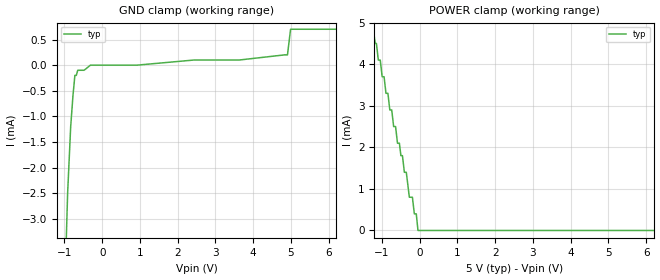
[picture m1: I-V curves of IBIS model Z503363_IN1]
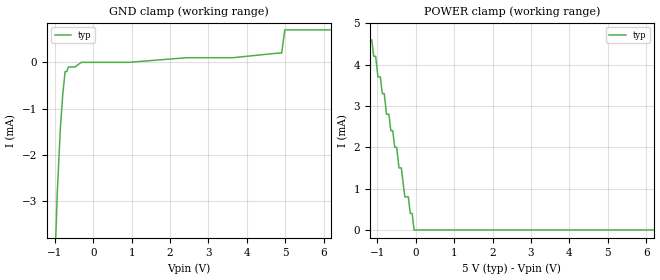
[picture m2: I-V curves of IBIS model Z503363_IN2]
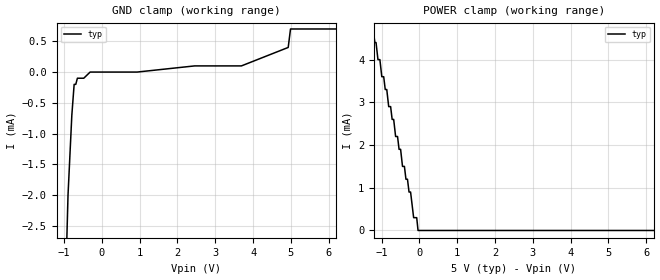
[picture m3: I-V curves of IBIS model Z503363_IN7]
| YOU ARE ONLY AUTHORIZED TO USE THIS SOFTWARE
| ACCORDING TO LICENSOR'S LICENSE RESTRICTIONS.
[IBIS Ver] 3.1
[File Name] mc100e116fn_pecl.ibs
[File Rev] 2.0
[Source] Measured and created by ICX Technology
[Date] Friday 7/14/00 9:07:47 AM
[Copyright]
| (C) COPYRIGHT 1993-2000
| MENTOR GRAPHICS CORPORATION
| ICX STANDARD LIBRARY, ICX PROJECT MODELING,
| ICX CUSTOM MODELING, ICX VENDOR MODEL
| ALL RIGHTS RESERVED.
| THE FOLLOWING ARE TRADEMARKS OR SERVICE MARKS OF
| MENTOR GRAPHICS CORPORATION:ICX (R), ICX STANDARD
| LIBRARY(R), ICX PROJECT MODELING(R), ICX CUSTOM
| MODELING(R), qualityIBIS(TM), MODELVIEWER(TM),
| AND MODELEDITOR(TM)
| ALL COPIES OF SOFTWARE, INCLUDING BUT NOT LIMITED TO
| ANY MODIFICATIONS, ENHANCEMENTS OR DERIVATIVE WORKS,
| MUST CONTAIN ALL MENTOR GRAPHICS CORPORATION'S
| NOTICES AND LEGENDS, INCLUDING THOSE EMBEDDED IN
| SOFTWARE AND THOSE AFFIXED TO SOFTWARE MEDIUM
| AND CONTAINER, AS RECEIVED FROM MENTOR GRAPHICS
| CORPORATION.
|  ZAP Model Builder 2.7
[Component] MC100E116FN_PECL
[Manufacturer] OnSemiconductor
[Package]
| variable   typ   min   max
R_pkg  .083ohms NA NA
L_pkg  4.299nH NA NA
C_pkg  1.045pF NA NA
[Pin] signal_name  model_name  R_pin  L_pin C_pin
1 VEE GND .08 3.94n .925p
2 VBB POWER .082 4.14n .995p
3 D0 Z503363_IN1 .084 4.354n 1.065p
4 _D0 Z503363_IN1 .086 4.583n 1.135p
5 D1 Z503363_IN2 .086 4.583n 1.135p
6 _D1 Z503363_IN2 .084 4.354n 1.065p
7 VCCO POWER .082 4.14n .995p
8 Q0 Z503363_OUT3 .08 3.94n .925p
9 _Q0 Z503363_OUT4 .082 4.14n .995p
10 VCCO POWER .084 4.354n 1.065p
11 Q1 Z503363_OUT3 .086 4.583n 1.135p
12 _Q1 Z503363_OUT4 .086 4.583n 1.135p
13 VCCO POWER .084 4.354n 1.065p
14 Q2 Z503363_OUT3 .082 4.14n .995p
15 _Q2 Z503363_OUT5 .08 3.94n .925p
16 VCC POWER .082 4.14n .995p
17 Q3 Z503363_OUT6 .084 4.354n 1.065p
18 _Q3 Z503363_OUT5 .086 4.583n 1.135p
19 VCCO POWER .086 4.583n 1.135p
20 Q4 Z503363_OUT6 .084 4.354n 1.065p
21 _Q4 Z503363_OUT5 .082 4.14n .995p
22 VCCO POWER .08 3.94n .925p
23 D4 Z503363_IN7 .082 4.14n .995p
24 _D4 Z503363_IN7 .084 4.354n 1.065p
25 D3 Z503363_IN7 .086 4.583n 1.135p
26 _D3 Z503363_IN8 .086 4.583n 1.135p
27 D2 Z503363_IN8 .084 4.354n 1.065p
28 _D2 Z503363_IN8 .082 4.14n .995p
| Models and submodels in the file (8): Z503363_IN1 (Input_ECL), Z503363_IN2 (Input_ECL), Z503363_IN7 (Input_ECL), Z503363_IN8 (Input_ECL), Z503363_OUT3 (Output_ECL), Z503363_OUT4 (Output_ECL), Z503363_OUT5 (Output_ECL), Z503363_OUT6 (Output_ECL)
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| (C) COPYRIGHT 1993-2000
| MENTOR GRAPHICS CORPORATION
| ICX STANDARD LIBRARY, ICX PROJECT MODELING,
| ICX CUSTOM MODELING, ICX VENDOR MODEL
| ALL RIGHTS RESERVED.
| THE FOLLOWING ARE TRADEMARKS OR SERVICE MARKS OF
| MENTOR GRAPHICS CORPORATION:ICX (R), ICX STANDARD
| LIBRARY(R), ICX PROJECT MODELING(R), ICX CUSTOM
| MODELING(R), qualityIBIS(TM), MODELVIEWER(TM),
| AND MODELEDITOR(TM)
| ALL COPIES OF SOFTWARE, INCLUDING BUT NOT LIMITED TO
| ANY MODIFICATIONS, ENHANCEMENTS OR DERIVATIVE WORKS,
| MUST CONTAIN ALL MENTOR GRAPHICS CORPORATION'S
| NOTICES AND LEGENDS, INCLUDING THOSE EMBEDDED IN
| SOFTWARE AND THOSE AFFIXED TO SOFTWARE MEDIUM
| AND CONTAINER, AS RECEIVED FROM MENTOR GRAPHICS
| CORPORATION.
| Model Application Version 1.89 2/18/99.
[Model] Z503363_IN1
Model_type Input_ECL
Vinl = 3.525V
Vinh = 3.835V
C_comp 4.000pF NA NA
| variable typ   min   max
[Voltage Range] 5.000V NA NA
[GND Clamp Reference] 0.000V NA NA
[POWER Clamp Reference] 5.000V NA NA
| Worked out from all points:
|   GND clamp passes 1 mA (typ) near -0.81 V on its own axis
|   POWER clamp passes 1 mA (typ) near -0.30 V on its own axis
[GND Clamp]
-5V       -139.9mA   NA         NA
-1.059V   -6.1mA     NA         NA
-916mV    -2.5mA     NA         NA
-835mV    -1.2mA     NA         NA
-775mV    -600uA     NA         NA
-724mV    -200uA     NA         NA
-647.8mV  -100uA     NA         NA
-311.3mV  0A         NA         NA
3.63V     100uA      NA         NA
4.908V    200uA      NA         NA
4.99V     700uA      NA         NA
10V       700uA      NA         NA
[POWER Clamp]
-5V       29.57mA    NA         NA
-1.147V   4.5mA      NA         NA
-690mV    2.5mA      NA         NA
-639mV    2.5mA      NA         NA
-588.5mV  2.1mA      NA         NA
-355mV    1.4mA      NA         NA
-274mV    800uA      NA         NA
-193mV    800uA      NA         NA
-142mV    400uA      NA         NA
-91mV     400uA      NA         NA
-45.5mV   0A         NA         NA
10V       0A         NA         NA
| (C) COPYRIGHT 1993-2000
| MENTOR GRAPHICS CORPORATION
| ICX STANDARD LIBRARY, ICX PROJECT MODELING,
| ICX CUSTOM MODELING, ICX VENDOR MODEL
| ALL RIGHTS RESERVED.
| THE FOLLOWING ARE TRADEMARKS OR SERVICE MARKS OF
| MENTOR GRAPHICS CORPORATION:ICX (R), ICX STANDARD
| LIBRARY(R), ICX PROJECT MODELING(R), ICX CUSTOM
| MODELING(R), qualityIBIS(TM), MODELVIEWER(TM),
| AND MODELEDITOR(TM)
| ALL COPIES OF SOFTWARE, INCLUDING BUT NOT LIMITED TO
| ANY MODIFICATIONS, ENHANCEMENTS OR DERIVATIVE WORKS,
| MUST CONTAIN ALL MENTOR GRAPHICS CORPORATION'S
| NOTICES AND LEGENDS, INCLUDING THOSE EMBEDDED IN
| SOFTWARE AND THOSE AFFIXED TO SOFTWARE MEDIUM
| AND CONTAINER, AS RECEIVED FROM MENTOR GRAPHICS
| CORPORATION.
| Model Application Version 1.89 2/18/99.
[Model] Z503363_IN2
Model_type Input_ECL
Vinl = 3.525V
Vinh = 3.835V
C_comp 4.000pF NA NA
| variable typ   min   max
[Voltage Range] 5.000V NA NA
[GND Clamp Reference] 0.000V NA NA
[POWER Clamp Reference] 5.000V NA NA
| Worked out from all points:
|   GND clamp passes 1 mA (typ) near -0.82 V on its own axis
|   POWER clamp passes 1 mA (typ) near -0.31 V on its own axis
[GND Clamp]
-5V       -139.6mA   NA         NA
-1.059V   -5.8mA     NA         NA
-937mV    -2.8mA     NA         NA
-856mV    -1.4mA     NA         NA
-795mV    -700uA     NA         NA
-734mV    -200uA     NA         NA
-647.8mV  -100uA     NA         NA
-311.3mV  0A         NA         NA
3.63V     100uA      NA         NA
4.908V    200uA      NA         NA
4.99V     700uA      NA         NA
10V       700uA      NA         NA
[POWER Clamp]
-5V       29.67mA    NA         NA
-1.147V   4.6mA      NA         NA
-984mV    3.7mA      NA         NA
-923mV    3.7mA      NA         NA
-761mV    2.8mA      NA         NA
-700mV    2.8mA      NA         NA
-436.5mV  1.5mA      NA         NA
-376mV    1.5mA      NA         NA
-284.5mV  800uA      NA         NA
-193mV    800uA      NA         NA
-45.5mV   0A         NA         NA
10V       0A         NA         NA
| (C) COPYRIGHT 1993-2000
| MENTOR GRAPHICS CORPORATION
| ICX STANDARD LIBRARY, ICX PROJECT MODELING,
| ICX CUSTOM MODELING, ICX VENDOR MODEL
| ALL RIGHTS RESERVED.
| THE FOLLOWING ARE TRADEMARKS OR SERVICE MARKS OF
| MENTOR GRAPHICS CORPORATION:ICX (R), ICX STANDARD
| LIBRARY(R), ICX PROJECT MODELING(R), ICX CUSTOM
| MODELING(R), qualityIBIS(TM), MODELVIEWER(TM),
| AND MODELEDITOR(TM)
| ALL COPIES OF SOFTWARE, INCLUDING BUT NOT LIMITED TO
| ANY MODIFICATIONS, ENHANCEMENTS OR DERIVATIVE WORKS,
| MUST CONTAIN ALL MENTOR GRAPHICS CORPORATION'S
| NOTICES AND LEGENDS, INCLUDING THOSE EMBEDDED IN
| SOFTWARE AND THOSE AFFIXED TO SOFTWARE MEDIUM
| AND CONTAINER, AS RECEIVED FROM MENTOR GRAPHICS
| CORPORATION.
| Model Application Version 1.89 2/18/99.
[Model] Z503363_IN7
Model_type Input_ECL
Vinl = 3.525V
Vinh = 3.835V
C_comp 4.000pF NA NA
| variable typ   min   max
[Voltage Range] 5.000V NA NA
[GND Clamp Reference] 0.000V NA NA
[POWER Clamp Reference] 5.000V NA NA
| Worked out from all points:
|   GND clamp passes 1 mA (typ) near -0.82 V on its own axis
|   POWER clamp passes 1 mA (typ) near -0.29 V on its own axis
[GND Clamp]
-5V       -129.8mA   NA         NA
-1.059V   -5.7mA     NA         NA
-896mV    -2mA       NA         NA
-795mV    -700uA     NA         NA
-734mV    -200uA     NA         NA
-647.8mV  -100uA     NA         NA
-479.5mV  -100uA     NA         NA
-311.3mV  0A         NA         NA
3.691V    100uA      NA         NA
4.929V    400uA      NA         NA
4.99V     700uA      NA         NA
10V       700uA      NA         NA
[POWER Clamp]
-5V       29.47mA    NA         NA
-1.147V   4.4mA      NA         NA
-1.096V   4mA        NA         NA
-1.045V   4mA        NA         NA
-994.5mV  3.6mA      NA         NA
-863mV    3.3mA      NA         NA
-812mV    2.9mA      NA         NA
-680mV    2.6mA      NA         NA
-629mV    2.2mA      NA         NA
-497mV    1.9mA      NA         NA
-35.5mV   0A         NA         NA
10V       0A         NA         NA
